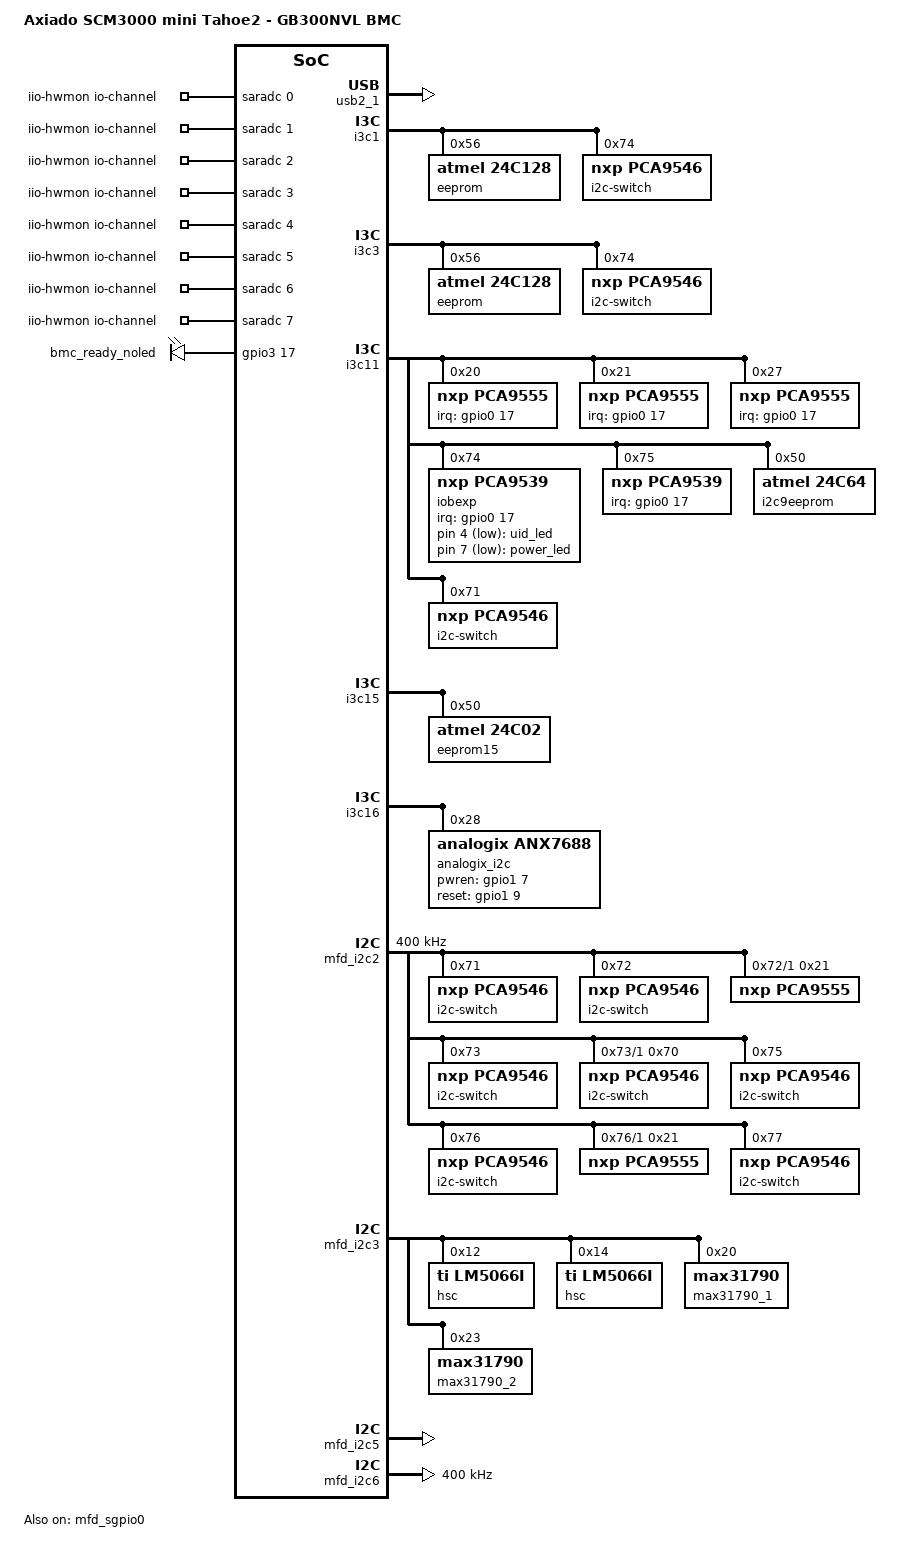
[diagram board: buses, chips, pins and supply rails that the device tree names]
// SPDX-License-Identifier: GPL-2.0+
/*
 * Copyright (c) 2021-25 Axiado Corporation (or its affiliates).
 */

/dts-v1/;

#include "mt2.dts"
#include <dt-bindings/gpio/gpio.h>

/ {
	model = "Axiado SCM3000 mini Tahoe2 - GB300NVL BMC";
	aliases {
		i2c0 = &i3c0;
		i2c1 = &i3c1;
		i2c2 = &mfd_i2c6;
		i2c3 = &i3c16;
		i2c4 = &i3c8;
		i2c5 = &mfd_i2c2;
		i2c6 = &mfd_i2c3;
		i2c7 = &i3c3;
		i2c8 = &i3c15;
		i2c9 = &i3c11;
		i2c10 = &i3c7;
		i2c11 = &i3c5;
		i2c12 = &i3c12;
		i2c13 = &i3c13;
		i2c14 = &i3c6;
		i2c15 = &mfd_i2c5;
		i2c16 = &imux16;
		i2c17 = &imux17;
		i2c18 = &imux18;
		i2c19 = &imux19;
		i2c20 = &imux20;
		i2c21 = &imux21;
		i2c22 = &imux22;
		i2c23 = &imux23;
		i2c24 = &imux24;
		i2c25 = &imux25;
		i2c26 = &imux26;
		i2c27 = &imux27;
		i2c28 = &imux28;
		i2c29 = &imux29;
		i2c30 = &imux30;
		i2c31 = &imux31;
		i2c32 = &imux32;
		i2c33 = &imux33;
		i2c34 = &imux34;
		i2c35 = &imux35;
		i2c36 = &imux36;
		i2c37 = &imux37;
		i2c38 = &imux38;
		i2c39 = &imux39;
		i2c40 = &e1si2c0;
		i2c41 = &e1si2c1;
		i2c42 = &e1si2c2;
		i2c43 = &e1si2c3;
		i2c44 = &e1si2c4;
		i2c45 = &e1si2c5;
		i2c46 = &e1si2c6;
		i2c47 = &e1si2c7;
		i2c52 = &imux52;
		i2c53 = &imux53;
		i2c54 = &imux54;
		i2c55 = &imux55;
	};
	iio-hwmon {
		compatible = "iio-hwmon";
		io-channels = <&saradc 0>, <&saradc 1>, <&saradc 2>,
			<&saradc 3>, <&saradc 4>, <&saradc 5>, <&saradc 6>,
			<&saradc 7>, <&saradc 8>, <&saradc 9>, <&saradc 10>,
			<&saradc 11>, <&saradc 12>, <&saradc 13>, <&saradc 14>,
			<&saradc 15>;
	};
	leds {
		compatible = "gpio-leds";
		uid_led {
			gpios = <&iobexp 4 GPIO_ACTIVE_LOW>;
		};
		power_led {
			gpios = <&iobexp 7 GPIO_ACTIVE_LOW>;
		};
		// Non-LEDs:
		//   BMC_READY-O GPIO pin (not an LED) is being bound to the GPIO LED driver.
		// Notes:
		// * This is a workaround and leverages the GPIO LED driver to enable control of
		//   reset tolerance and still allow the GPIO to be controlled from user space.
		// * The standard Linux GPIO driver allows control of reset tolerance, however
		//   does not expose user space APIs for user space control of the GPIO pin.
		// * GPIO_TRANSITORY = reset tolerance is disabled
		// * Any non-leds should be added below this line.
		bmc_ready_noled {
			gpios = <&gpio3 17 (GPIO_ACTIVE_HIGH|GPIO_TRANSITORY)>;
		};
	};
	buttons {
		uid-btn {
			gpio = <&iobexp 5 GPIO_ACTIVE_LOW>;
		};
		power-btn {
			gpio = <&iobexp 8 GPIO_ACTIVE_LOW>;
		};
	};
};

&gpio2 {
	gpio-line-names =
		"",
		"",
		"",
		"",
		"",
		"",
		"",
		"BMC_EP_PERST_EN-O",	/* GPIO_71 - PEX_FPGA_RST_L */
		"",
		"",
		"",
		"",
		"",
		"",
		"",
		"",
		"",
		"",
		"",
		"",
		"",
		"",
		"PCB_TEMP_ALERT-I",	/* GPIO_86 - PCB_TEMP_ALERT*/
		"",
		"",
		"",
		"",
		"",
		"",
		"",
		"BMC_FRU_WP-O",		/* GPIO_94 - FRU_EEPROM_WP */
		"";
};

&gpio3 {
	gpio-line-names =
		"",
		"",
		"",
		"",
		"",
		"",
		"",
		"",
		"",
		"",
		"",
		"",
		"",
		"",
		"",
		"",
		"",
		"BMC_READY-O",	/* GPIO_113 - TCU_SPI_SS_1 */
		"",
		"",
		"",
		"",
		"",
		"",
		"",
		"",
		"",
		"",
		"",
		"",
		"",
		"";
};

&gpio4 {
	gpio-line-names =
		"",
		"",
		"",
		"",
		"",
		"",
		"",
		"",
		"",
		"",
		"HMC_RESET_L-O",	/* GPIO_138 - SCM_HPM_STBY_RST_N*/
		"",
		"CHASSIS_INTRUSION",	/* GPIO140 - HPM_SCM_INTRUSION_N*/
		"",
		"",
		"STBY_POWER_PG-I",	/* GPIO_143 - HPM_SCM_STBY_RDY */
		"STBY_POWER_EN-O",	/* GPIO_144 - SCM_HPM_STBY_EN */
		"",
		"",
		"",
		"",
		"",
		"",
		"",
		"",
		"",
		"",
		"",
		"",
		"",
		"",
		"";
};

&pcie_x1 {
	device_class = "vga";
};

&usb2_1 {
	status = "okay";
};

&mfd_sgpio0 {
	status = "okay";

	gpio-line-names =
		"",
		"RSVD_SGPIO_O_CRC[0]",
		"",
		"RSVD_SGPIO_O_CRC[1]",
		"",
		"RSVD_SGPIO_O_CRC[2]",
		"",
		"RSVD_SGPIO_O_CRC[3]",
		"",
		"RSVD_SGPIO_O_CRC[4]",
		"",
		"RSVD_SGPIO_O_CRC[5]",
		"",
		"RSVD_SGPIO_O_CRC[6]",
		"",
		"RSVD_SGPIO_O_CRC[7]",
		"BMC_I2C0_FPGA_ALERT_L-I",
		"",
		"BMC_I2C1_FPGA_ALERT_L-I",
		"",
		"SHDN_OK_L-I",
		"",
		"L2_RST_REQ_OUT_L-I",
		"",
		"L0L1_RST_REQ_OUT_L-I",
		"",
		"SYS_RST_OUT_L-I",
		"",
		"RUN_POWER_PG-I",
		"",
		"RUN_POWER_FAULT_L-I",
		"",
		"THERM_BB_OVERT_L-I",
		"",
		"THERM_BB_WARN_L-I",
		"",
		"SPI_BMC_FPGA_INT_L-I",
		"",
		"CPU_BOOT_DONE-I",
		"",
		"FPGA_RSVD_FFU0-I",
		"",
		"FPGA_RSVD_FFU1-I",
		"",
		"FPGA_RSVD_FFU2-I",
		"",
		"FPGA_RSVD_FFU3-I",
		"",
		"CPU0_UPHY0_PRSNT0_L-I",
		"",
		"CPU0_UPHY0_PRSNT1_L-I",
		"",
		"CPU0_UPHY1_PRSNT0_L-I",
		"",
		"CPU0_UPHY1_PRSNT1_L-I",
		"",
		"CPU0_UPHY2_PRSNT0_L-I",
		"",
		"CPU0_UPHY2_PRSNT1_L-I",
		"",
		"CPU0_UPHY3_PRSNT0_L-I",
		"",
		"CPU0_UPHY3_PRSNT1_L-I",
		"",
		"CPU1_UPHY0_PRSNT0_L-I",
		"",
		"CPU1_UPHY0_PRSNT1_L-I",
		"",
		"CPU1_UPHY1_PRSNT0_L-I",
		"",
		"CPU1_UPHY1_PRSNT1_L-I",
		"",
		"CPU1_UPHY2_PRSNT0_L-I",
		"",
		"CPU1_UPHY2_PRSNT1_L-I",
		"",
		"CPU1_UPHY3_PRSNT0_L-I",
		"",
		"CPU1_UPHY3_PRSNT1_L-I",
		"",
		"CPU0_UPHY4_PRSNT0_L-I",
		"",
		"CPU1_UPHY4_PRSNT1_L-I",
		"",
		"M2_0_PRSNT_L-I",
		"",
		"M2_1_PRSNT_L-I",
		"",
		"IPEX_CABLE_PRSNT_L-I",
		"",
		"",
		"",
		"FAN0_PRESENT_L-I",
		"",
		"FAN1_PRESENT_L-I",
		"",
		"FAN2_PRESENT_L-I",
		"",
		"FAN3_PRESENT_L-I",
		"",
		"FAN4_PRESENT_L-I",
		"",
		"FAN5_PRESENT_L-I",
		"",
		"FAN6_PRESENT_L-I",
		"",
		"FAN7_PRESENT_L-I",
		"",
		"I2C_RTC_ALERT_L-I",
		"",
		"",
		"",
		"FAN_FAIL_IN_L-I",
		"",
		"",
		"",
		"",
		"",
		"IOBRD0_PWR_GOOD-I",
		"",
		"IOBRD1_PWR_GOOD-I",
		"",
		"IOBRD0_PRSNT_L-I",
		"",
		"IOBRD1_PRSNT_L-I",
		"",
		"IOBRD0_IOX_INT_L-I",
		"",
		"IOBRD1_IOX_INT_L-I",
		"",
		"",
		"",
		"CHASSIS_PWR_BRK_L-I",
		"",
		"",
		"",
		"PDB_CABLE_PRESENT_L-I",
		"",
		"",
		"",
		"",
		"",
		"",
		"",
		"PSU_SMB_ALERT_L-I",
		"",
		"PWR_BTN_L-I",
		"",
		"UID_BTN_N-I",
		"",
		"TRAY_FAST_SHDN_L-I",
		"",
		"I2C_M20_ALERT_L-I",
		"",
		"I2C_M21_ALERT_L-I",
		"",
		"PCIE_WAKE_L-I",
		"",
		"10GBE_SMBALRT_L-I",
		"",
		"NODE_LOC_ID[5]-I",
		"",
		"NODE_LOC_ID[4]-I",
		"",
		"NODE_LOC_ID[3]-I",
		"",
		"NODE_LOC_ID[2]-I",
		"",
		"NODE_LOC_ID[1]-I",
		"",
		"NODE_LOC_ID[0]-I",
		"",
		"",
		"",
		"",
		"",
		"FPGA0_READY_HMC-I",
		"",
		"HMC_I2C2_FPGA_ALERT_L-I",
		"",
		"HMC_I2C3_FPGA_ALERT_L-I",
		"",
		"DP_HPD-I",
		"",
		"FPGA1_READY_HMC-I",
		"",
		"FAN8_PRESENT_L-I",
		"",
		"FAN9_PRESENT_L-I",
		"HMC_EROT_MUX_STATUS",
		"FAN10_PRESENT_L-I",
		"",
		"FAN11_PRESENT_L-I",
		"SPI1_INT_L-O",
		"MOD1_CLINK_CABLE_PRESENT_L-I",
		"RSVD_NV_PLT_DETECT-O",
		"MOD1_B2B_CABLE_PRESENT_L-I",
		"FPGA_RSVD_FFU7-O",
		"LEAK_DETECT_ALERT_L-I",
		"FPGA_RSVD_FFU6-O",
		"",
		"FPGA_RSVD_FFU5-O",
		"",
		"FPGA_RSVD_FFU4-O",
		"",
		"IOBRD1_RUN_POWER_EN-O",
		"",
		"IOBRD0_RUN_POWER_EN-O",
		"",
		"",
		"",
		"UART_MUX_SEL-O",
		"",
		"RTC_CLR_L-O",
		"",
		"JTAG_MUX_SELECT-O",
		"",
		"BMC_I2C_SSIF_ALERT_L-O",
		"",
		"",
		"",
		"",
		"",
		"",
		"",
		"PWR_LED_N-O",
		"",
		"SYS_FAULT_LED_N-O",
		"",
		"UID_LED_N-O",
		"",
		"SHDN_REQ_L-O",
		"",
		"SHDN_FORCE_L-O",
		"",
		"RUN_POWER_EN-O",
		"",
		"PWR_BRAKE_L-O",
		"",
		"SYS_RST_IN_L-O",
		"RSVD_SGPIO_IN_CRC[7]",
		"",
		"RSVD_SGPIO_IN_CRC[6]",
		"",
		"RSVD_SGPIO_IN_CRC[5]",
		"",
		"RSVD_SGPIO_IN_CRC[4]",
		"",
		"RSVD_SGPIO_IN_CRC[3]",
		"",
		"RSVD_SGPIO_IN_CRC[2]",
		"",
		"RSVD_SGPIO_IN_CRC[1]",
		"",
		"RSVD_SGPIO_IN_CRC[0]",
		"";
};

// i2c-0
&i3c0 {
	status = "disabled";
};

// i2c-1
&i3c1 {
	enable-repeated-start;

	/* FPGA regbtl (readonly) */
	dummy2@0b {
		compatible = "dummydev";
		reg = <0x0B 0x0 0x50>;
	};
	/* FPGA regtbl (multipage read) */
	dummy3@11 {
		compatible = "dummydev";
		reg = <0x11 0x0 0x50>;
	};
	/* MCTP bridge */
	dummy4@14 {
		compatible = "dummydev";
		reg = <0x14 0x0 0x50>;
	};
	dummy5@4c {
		compatible = "dummydev";
		reg = <0x4c 0x0 0x50>;
	};
	dummy6@4d {
		compatible = "dummydev";
		reg = <0x4d 0x0 0x50>;
	};
	dummy7@52 {
		compatible = "dummydev";
		reg = <0x52 0x0 0x50>;
	};
	/* FPGA SMBPI */
	dummy1@60 {
		compatible = "dummydev";
		reg = <0x60 0x0 0x50>;
	};
	// ES.1 Backplane FRU EEPROM - 16 KByte (128 KBit)
	eeprom@56 {
		compatible = "atmel,24c128";
		reg = <0x56 0x0 0x50>;
		pagesize = <64>;
	};
	//E1.S drive slot 0-3
	i2c-switch@74 {
		compatible = "nxp,pca9546";
		#address-cells = <1>;
		#size-cells = <0>;
		reg = <0x74 0x0 0x50>;
		i2c-mux-idle-disconnect;

		e1si2c0: i2c@0 {
			#address-cells = <1>;
			#size-cells = <0>;
			reg = <0>;
		};
		e1si2c1: i2c@1 {
			#address-cells = <1>;
			#size-cells = <0>;
			reg = <1>;
		};
		e1si2c2: i2c@2 {
			#address-cells = <1>;
			#size-cells = <0>;
			reg = <2>;
		};
		e1si2c3: i2c@3 {
			#address-cells = <1>;
			#size-cells = <0>;
			reg = <3>;
		};
	};
};

&i3c2 {
	status = "disabled";
};

// i2c-7
&i3c3 {
	enable-repeated-start;

	// ES.1 Backplane FRU EEPROM - 16 KByte (128 KBit)
	eeprom@56 {
		compatible = "atmel,24c128";
		reg = <0x56 0x0 0x50>;
		pagesize = <64>;
	};
	//E1.S drive slot 4-7
	i2c-switch@74 {
		compatible = "nxp,pca9546";
		#address-cells = <1>;
		#size-cells = <0>;
		reg = <0x74 0x0 0x50>;
		i2c-mux-idle-disconnect;

		e1si2c4: i2c@0 {
			#address-cells = <1>;
			#size-cells = <0>;
			reg = <0>;
		};
		e1si2c5: i2c@1 {
			#address-cells = <1>;
			#size-cells = <0>;
			reg = <1>;
		};
		e1si2c6: i2c@2 {
			#address-cells = <1>;
			#size-cells = <0>;
			reg = <2>;
		};
		e1si2c7: i2c@3 {
			#address-cells = <1>;
			#size-cells = <0>;
			reg = <3>;
		};
	};
};

&i3c4 {
	status = "disabled";
};

// i2c-11
&i3c5 {
	status = "disabled";
};

&i3c9 {
	status = "disabled";
};

&i3c10 {
	status = "disabled";
};

// i2c-9
&i3c11 {

	pca9555@20 {
		compatible = "nxp,pca9555";
		#address-cells = <1>;
		#size-cells = <0>;
		reg = <0x20 0x0 0x50>;
		gpio-controller;
		#gpio-cells = <2>;
		interrupt-controller;
		#interrupt-cells = <2>;
		interrupt-parent = <&gpio0>;
		interrupts = <17 IRQ_TYPE_LEVEL_LOW>;	/* <GPIO0_17 B18 on DC-SCM */
		gpio-line-names =
			"FPGA_THERM_OVERT_L-I",
			"FPGA_READY_BMC-I",
			"HMC_BMC_DETECT-O",
			"HMC_PGOOD-O",
			"",
			"BMC_STBY_CYCLE-O",
			"FPGA_EROT_FATAL_ERROR_L-I",
			"WP_HW_EXT_CTRL_L-O",
			"EROT_FPGA_RST_L-O",
			"FPGA_EROT_RECOVERY_L-O",
			"BMC_EROT_FPGA_SPI_MUX_SEL-O",
			"USB2_HUB_RST_L-O",
			"",
			"SGPIO_EN_L-O",
			"B2B_IOEXP_INT_L-I",
			"I2C_BUS_MUX_RESET_L-O";
	};
	pca9555@21 {
		compatible = "nxp,pca9555";
		#address-cells = <1>;
		#size-cells = <0>;
		reg = <0x21 0x0 0x50>;
		gpio-controller;
		#gpio-cells = <2>;
		interrupt-controller;
		#interrupt-cells = <2>;
		interrupt-parent = <&gpio0>;
		interrupts = <17 IRQ_TYPE_LEVEL_LOW>;	/* <GPIO0_17 B18 on DC-SCM */
		gpio-line-names =
			"USB_MUX_SEL_N-O",
			"",
			"MCIO_PCIE_DISABLE_L-O",
			"USB_PCIE_DISABLE_L-O",
			"PEX_SW_PCIE_DISABLE_L-O",
			"HSC_CARD_PRSNT_N-I",
			"TPM_MUX_3V3_SEL_OUT_N-O",
			"USB2_HUB4_RST_L-O",
			"PCI_MUX_SEL-O",
			"TPM_MUX_SEL-O",
			"IOEXP_BMC_PHY_RST_N-O",
			"IOEXP_RTC_CLR_L-O",
			"BMC_12V_CTRL-O",
			"PS_RUN_IO0_PG-I",
			"",
			"";
	};
	pca9555@27 {
		compatible = "nxp,pca9555";
		#address-cells = <1>;
		#size-cells = <0>;
		reg = <0x27 0x0 0x50>;
		gpio-controller;
		#gpio-cells = <2>;
		interrupt-controller;
		#interrupt-cells = <2>;
		interrupt-parent = <&gpio0>;
		interrupts = <17 IRQ_TYPE_LEVEL_LOW>;	/* <GPIO0_17 B18 on DC-SCM */
		gpio-line-names =
			"HMC_PRSNT_L-I",
			"HMC_READY-I",
			"HMC_EROT_FATAL_ERROR_L-I",
			"I2C_MUX_SEL-O",
			"HMC_EROT_SPI_MUX_SEL-O",
			"HMC_EROT_RECOVERY_L-O",
			"HMC_EROT_RST_L-O",
			"GLOBAL_WP_HMC-O",
			"FPGA_RST_L-O",
			"USB2_HUB_RST-O",
			"CPU_UART_MUX_SEL-O",
			"",
			"",
			"",
			"",
			"";
	};
	iobexp: pca9539@74 {
		compatible = "nxp,pca9539";
		#address-cells = <1>;
		#size-cells = <0>;
		reg = <0x74 0x0 0x50>;
		gpio-controller;
		#gpio-cells = <2>;
		interrupt-controller;
		#interrupt-cells = <2>;
		interrupt-parent = <&gpio0>;
		interrupts = <17 IRQ_TYPE_LEVEL_LOW>;	/* <GPIO0_17 B18 on DC-SCM */
		gpio-line-names =
			"IOB_PRSNT_L-I",
			"IOB_DP_HPD-O",
			"IOX_BMC_RESET-O",
			"IOB_IOEXP_INT_L-I",
			"IOB_UID_LED_L-O",
			"IOB_UID_BTN_L-I",
			"",
			"IOB_PWR_LED_L-O",
			"IOB_PWR_BTN_L-I",
			"IOB_PHY_RST-O",
			"CPLD_JTAG_MUX_SEL-O",
			"STATUS_AMBER_LED_N-O",
			"P3V3_AUX_IOX_EN-O",
			"P1V05_USB_AUX_IOX_EN-O",
			"I2C4_TMP_ALERT_L-I",
			"USB_POWER_GOOD-I";
	};
	pca9539@75 {
		compatible = "nxp,pca9539";
		#address-cells = <1>;
		#size-cells = <0>;
		reg = <0x75 0x0 0x50>;
		gpio-controller;
		#gpio-cells = <2>;
		interrupt-controller;
		#interrupt-cells = <2>;
		interrupt-parent = <&gpio0>;
		interrupts = <17 IRQ_TYPE_LEVEL_LOW>;	/* <GPIO0_17 B18 on DC-SCM */
		gpio-line-names =
			"INT_PS_RUN_IO1_PG-I",
			"INT_PS_RUN_IO1_EN-I",
			"FAN_POWER_FABLE_PRSNT1_L-I",
			"FAN_POWER_CABLE_PRSNT2_L-I",
			"FAN_SIGNAL_CABLE_PRSNT_L-I",
			"I2C_ALERT_FAN_FAIL_L-I",
			"RST_STBY_L-O",
			"PDB_CABLE_PRSNT_L-I",
			"INT_RTC_ALERT_L-I",
			"INT_RTC_CLR_L-O",
			"BF3_PRESENCE_L-I",
			"PDB_RUN_POWER_EN_N-O",
			"",
			"",
			"",
			"";
	};
	i2c9eeprom@50 {
		compatible = "atmel,24c64";
		reg = <0x50 0x0 0x50>;
		pagesize = <32>;
		status = "okay";
	};
	i2c-switch@71 {
		compatible = "nxp,pca9546";
		#address-cells = <1>;
		#size-cells = <0>;
		reg = <0x71 0x0 0x50>;
		i2c-mux-idle-disconnect;

		i2c@0 {
			#address-cells = <1>;
			#size-cells = <0>;
			reg = <0>;
		};
		i2c@1 {
			#address-cells = <1>;
			#size-cells = <0>;
			reg = <1>;
		};
		i2c@2 {
			#address-cells = <1>;
			#size-cells = <0>;
			reg = <2>;
		};
		i2c@3 {
			#address-cells = <1>;
			#size-cells = <0>;
			reg = <3>;
		};
	};
};

// i2c-12
&i3c12 {
	status = "disabled";
};

// i2c-13
&i3c13 {
	status = "disabled";
};

&i3c14 {
	status = "disabled";
};

// i2c-8
&i3c15 {
	enable-repeated-start;

	eeprom15@50 {
		compatible = "atmel,24c02";
		reg = <0x50 0x0 0x50>;
	};
};

// i2c-3
&i3c16 {
	analogix_i2c@28{
		compatible = "analogix,anx7688";
		reg = <0x28 0x0 0x50>;
		pwren-gpios = <&gpio1 7 GPIO_ACTIVE_HIGH>;
		reset-gpios = <&gpio1 9 GPIO_ACTIVE_HIGH>;
	};
	analogix_i2c1@2c {
		compatible = "dummy";
		reg = <0x2c 0x0 0x50>;
	};
};

// i2c-5
&mfd_i2c2 {
	status = "okay";
	clock-frequency = <400000>;

	i2c-switch@71 {
		compatible = "nxp,pca9546";
		#address-cells = <1>;
		#size-cells = <0>;
		reg = <0x71>;
		i2c-mux-idle-disconnect;

		imux16: i2c@0 {
			#address-cells = <1>;
			#size-cells = <0>;
			reg = <0>;
		};
		imux17: i2c@1 {
			#address-cells = <1>;
			#size-cells = <0>;
			reg = <1>;
		};
		imux18: i2c@2 {
			#address-cells = <1>;
			#size-cells = <0>;
			reg = <2>;
		};
		imux19: i2c@3 {
			#address-cells = <1>;
			#size-cells = <0>;
			reg = <3>;
		};
	};
	i2c-switch@72 {
		compatible = "nxp,pca9546";
		#address-cells = <1>;
		#size-cells = <0>;
		reg = <0x72>;
		i2c-mux-idle-disconnect;

		imux20: i2c@0 {
			#address-cells = <1>;
			#size-cells = <0>;
			reg = <0>;
		};
		imux21: i2c@1 {
			#address-cells = <1>;
			#size-cells = <0>;
			reg = <1>;

			pca9555@21 {
				compatible = "nxp,pca9555";
				reg = <0x21>;
				gpio-controller;
				#gpio-cells = <2>;
				#address-cells = <1>;
				#size-cells = <0>;
				gpio-line-names =
					"RST_CX_0_L-O",
					"RST_CX_1_L-O",
					"CX0_SSD0_PRSNT_L-I",
					"CX1_SSD1_PRSNT_L-I",
					"CX_BOOT_CMPLT_CX0-I",
					"CX_BOOT_CMPLT_CX1-I",
					"CX_TWARN_CX0_L-I",
					"CX_TWARN_CX1_L-I",
					"CX_OVT_SHDN_CX0-I",
					"CX_OVT_SHDN_CX1-I",
					"FNP_L_CX0-O",
					"FNP_L_CX1-O",
					"",
					"MCU_GPIO-I",
					"MCU_RST_N-O",
					"MCU_RECOVERY_N-O";
			};
		};
		imux22: i2c@2 {
			#address-cells = <1>;
			#size-cells = <0>;
			reg = <2>;
		};
		imux23: i2c@3 {
			#address-cells = <1>;
			#size-cells = <0>;
			reg = <3>;
		};
	};
	i2c-switch@73 {
		compatible = "nxp,pca9546";
		#address-cells = <1>;
		#size-cells = <0>;
		reg = <0x73>;
		i2c-mux-idle-disconnect;

		imux24: i2c@0 {
			#address-cells = <1>;
			#size-cells = <0>;
			reg = <0>;
		};
		imux25: i2c@1 {
			#address-cells = <1>;
			#size-cells = <0>;
			reg = <1>;
			i2c-mux-idle-disconnect;

			i2c-switch@70 {
				compatible = "nxp,pca9546";
				#address-cells = <1>;
				#size-cells = <0>;
				reg = <0x70>;
				i2c-mux-idle-disconnect;

				imux52: i2c@0 {
					#address-cells = <1>;
					#size-cells = <0>;
					reg = <0>;
				};
				imux53: i2c@1 {
					#address-cells = <1>;
					#size-cells = <0>;
					reg = <1>;
				};
				imux54: i2c@2 {
					#address-cells = <1>;
					#size-cells = <0>;
					reg = <2>;
				};
				imux55: i2c@3 {
					#address-cells = <1>;
					#size-cells = <0>;
					reg = <3>;
				};
			};
		};
		imux26: i2c@2 {
			#address-cells = <1>;
			#size-cells = <0>;
			reg = <2>;
		};
		imux27: i2c@3 {
			#address-cells = <1>;
			#size-cells = <0>;
			reg = <3>;
		};
	};
	i2c-switch@75 {
		compatible = "nxp,pca9546";
		#address-cells = <1>;
		#size-cells = <0>;
		reg = <0x75>;
		i2c-mux-idle-disconnect;

		imux28: i2c@0 {
			#address-cells = <1>;
			#size-cells = <0>;
			reg = <0>;
		};
		imux29: i2c@1 {
			#address-cells = <1>;
			#size-cells = <0>;
			reg = <1>;
		};
		imux30: i2c@2 {
			#address-cells = <1>;
			#size-cells = <0>;
			reg = <2>;
		};
		imux31: i2c@3 {
			#address-cells = <1>;
			#size-cells = <0>;
			reg = <3>;
		};
	};
	i2c-switch@76 {
		compatible = "nxp,pca9546";
		#address-cells = <1>;
		#size-cells = <0>;
		reg = <0x76>;
		i2c-mux-idle-disconnect;

		imux32: i2c@0 {
			#address-cells = <1>;
			#size-cells = <0>;
			reg = <0>;
		};
		imux33: i2c@1 {
			#address-cells = <1>;
			#size-cells = <0>;
			reg = <1>;

			pca9555@21 {
				compatible = "nxp,pca9555";
				reg = <0x21>;
				gpio-controller;
				#gpio-cells = <2>;
				#address-cells = <1>;
				#size-cells = <0>;
				gpio-line-names =
					"SEC_RST_CX_0_L-O",
					"SEC_RST_CX_1_L-O",
					"SEC_CX0_SSD0_PRSNT_L-I",
					"SEC_CX1_SSD1_PRSNT_L-I",
					"SEC_CX_BOOT_CMPLT_CX0-I",
					"SEC_CX_BOOT_CMPLT_CX1-I",
					"SEC_CX_TWARN_CX0_L-I",
					"SEC_CX_TWARN_CX1_L-I",
					"SEC_CX_OVT_SHDN_CX0-I",
					"SEC_CX_OVT_SHDN_CX1-I",
					"SEC_FNP_L_CX0-O",
					"SEC_FNP_L_CX1-O",
					"",
					"SEC_MCU_GPIO-I",
					"SEC_MCU_RST_N-O",
					"SEC_MCU_RECOVERY_N-O";
			};
		};
		imux34: i2c@2 {
			#address-cells = <1>;
			#size-cells = <0>;
			reg = <2>;
		};
		imux35: i2c@3 {
			#address-cells = <1>;
			#size-cells = <0>;
			reg = <3>;
		};
	};
	i2c-switch@77 {
		compatible = "nxp,pca9546";
		#address-cells = <1>;
		#size-cells = <0>;
		reg = <0x77>;
		i2c-mux-idle-disconnect;

		imux36: i2c@0 {
			#address-cells = <1>;
			#size-cells = <0>;
			reg = <0>;
		};
		imux37: i2c@1 {
			#address-cells = <1>;
			#size-cells = <0>;
			reg = <1>;
		};
		imux38: i2c@2 {
			#address-cells = <1>;
			#size-cells = <0>;
			reg = <2>;
		};
		imux39: i2c@3 {
			#address-cells = <1>;
			#size-cells = <0>;
			reg = <3>;
		};
	};
};

// i2c-6
&mfd_i2c3 {
	status = "okay";

	hsc@12 {
		compatible = "ti,lm5066i";
		reg = <0x12>;
		shunt-resistor-micro-ohms = <190>;
		status = "okay";
	};
	hsc@14 {
		compatible = "ti,lm5066i";
		reg = <0x14>;
		shunt-resistor-micro-ohms = <190>;
		status = "okay";
	};
	max31790_1@20 {
		compatible = "max31790";
		reg = <0x20>;
	};
	max31790_2@23 {
		compatible = "max31790";
		reg = <0x23>;
	};
};

// i2c-15
&mfd_i2c5 {
	status = "okay";
};

// i2c-2
&mfd_i2c6 {
	status = "okay";
	clock-frequency = <400000>;
};
